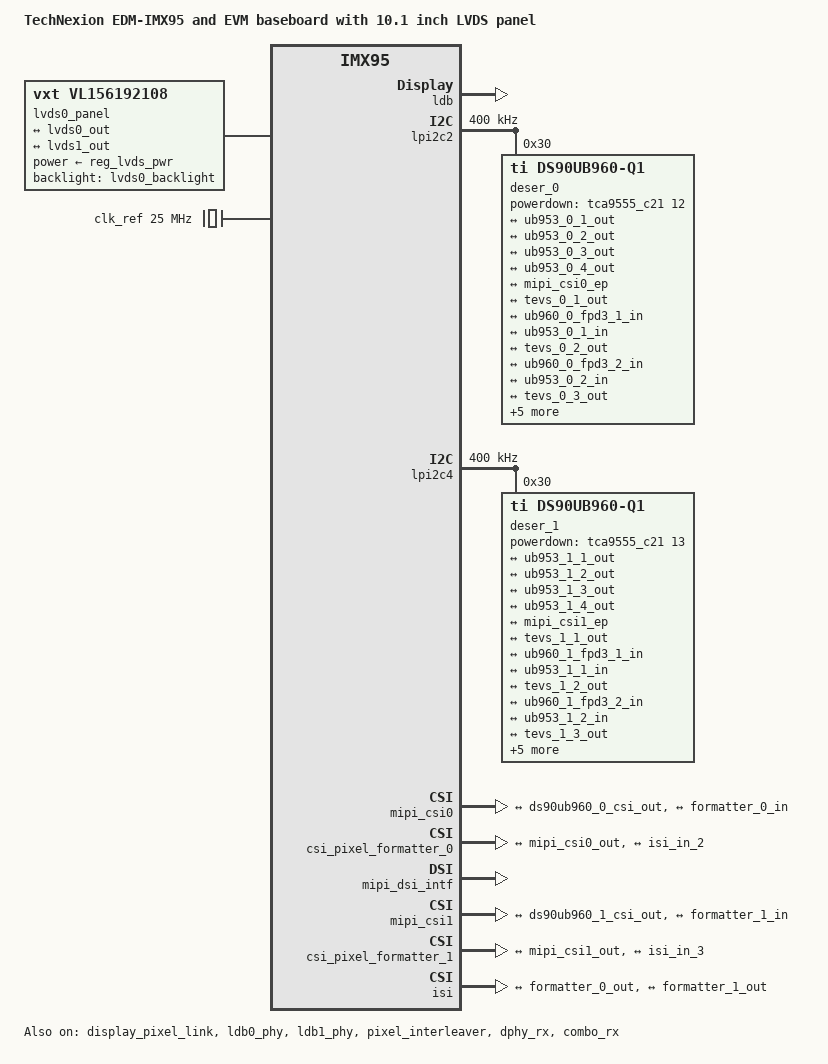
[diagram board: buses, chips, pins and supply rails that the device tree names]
// SPDX-License-Identifier: (GPL-2.0 OR MIT)
/*
 * Copyright 2024 TechNexion Ltd.
 *
 * Author: Dennis Tseng <dennis.tseng@technexion.com>
 */

/dts-v1/;

#include "imx95-edm-evm.dts"

/ {
	model = "TechNexion EDM-IMX95 and EVM baseboard with 10.1 inch LVDS panel";
	compatible = "fsl,imx95-edm", "fsl,imx95";

	reg_lvds_pwr: regulator_lvdspwr {	/* LVDS0_VDDEN */
		status = "okay";
	};

	lvds0_backlight: lvds0_backlight {
		status = "okay";
	};

	lvds0_panel {
		compatible = "vxt,vl156192108", "panel-lvds";
		backlight = <&lvds0_backlight>;
		power-supply = <&reg_lvds_pwr>;
		data-mapping = "vesa-24";
		height-mm = <193>;
		width-mm = <344>;

		panel-timing {
			clock-frequency = <141860000>;
			hactive = <1920>;
			vactive = <1080>;
			vback-porch = <10>;
			vfront-porch = <10>;
			hback-porch = <35>;
			hfront-porch = <34>;
			vsync-len = <10>;
			hsync-len = <35>;
			de-active = <1>;
		};

		ports {
			#address-cells = <1>;
			#size-cells = <0>;

			port@0 {
				reg = <0>;
				dual-lvds-odd-pixels;
				panel_in_odd: endpoint {
					remote-endpoint = <&lvds0_out>;
				};
			};


			port@1 {
				reg = <1>;
				dual-lvds-even-pixels;
				panel_in_even: endpoint {
					remote-endpoint = <&lvds1_out>;
				};
			};
		};
	};

	clk_ref: fixed-clock-25M {
		compatible = "fixed-clock";
		#clock-cells = <0>;
		clock-frequency = <25000000>;
		clock-output-names = "clk_ref";
	};
};

&display_pixel_link {
	status = "okay";
};

&ldb {
	#address-cells = <1>;
	#size-cells = <0>;
	assigned-clocks = <&scmi_clk IMX95_CLK_LDBPLL_VCO>,
			  <&scmi_clk IMX95_CLK_LDBPLL>;
	assigned-clock-rates = <3291120000>, <1097040000>;
	status = "okay";

	channel@0 {
		#address-cells = <1>;
		#size-cells = <0>;
		reg = <0>;
		status = "okay";

		port@1 {
			reg = <1>;

			lvds0_out: endpoint {
				remote-endpoint = <&panel_in_odd>;
			};
		};
	};

	channel@1 {
		#address-cells = <1>;
		#size-cells = <0>;
		reg = <1>;
		status = "okay";

		port@1 {
			reg = <1>;

			lvds1_out: endpoint {
				remote-endpoint = <&panel_in_even>;
			};
		};
	};
};

&ldb0_phy {
	status = "okay";
};

&ldb1_phy {
	status = "okay";
};

&pixel_interleaver {
	#address-cells = <1>;
	#size-cells = <0>;
	status = "okay";

	channel@0 {
		reg = <0>;
		status = "okay";
	};
};

&lpi2c2 {
	#address-cells = <1>;
	#size-cells = <0>;
	clock-frequency = <400000>;

	deser_0@30 {
		compatible = "ti,ds90ub960-q1";
		reg = <0x30>;
		clocks = <&clk_ref>;
		clock-names = "refclk";
		powerdown-gpios  = <&tca9555_c21 12 GPIO_ACTIVE_HIGH>;  /* CSI0_PDB */
		i2c-alias-pool = <0x48 0x49 0x4a 0x4b 0x4c 0x4d 0x4e 0x4f>;

		ds90ub960_0_ports: ports {
			#address-cells = <1>;
			#size-cells = <0>;

			/* FPDLink RX 0 */
			port@0 {
				reg = <0>;

				ub960_0_fpd3_1_in: endpoint {
					remote-endpoint = <&ub953_0_1_out>;
				};
			};

			port@1 {
				reg = <1>;

				ub960_0_fpd3_2_in: endpoint {
					remote-endpoint = <&ub953_0_2_out>;
				};
			};

			port@2 {
				reg = <2>;

				ub960_0_fpd3_3_in: endpoint {
					remote-endpoint = <&ub953_0_3_out>;
				};
			};

			port@3 {
				reg = <3>;

				ub960_0_fpd3_4_in: endpoint {
					remote-endpoint = <&ub953_0_4_out>;
				};
			};

			/* CSI-2 TX */
			port@4 {
				reg = <4>;

				ds90ub960_0_csi_out: endpoint {
					remote-endpoint = <&mipi_csi0_ep>;
					data-lanes = <1 2 3 4>;
					link-frequencies = /bits/ 64 <800000000>;
				};
			};
		};

		ds90ub960_0_links: links {
			#address-cells = <1>;
			#size-cells = <0>;

			/* Link 0 has DS90UB953 serializer and TEVS sensor */

			link@0 {
				reg = <0>;
				i2c-alias = <0x43>;

				ti,rx-mode = <3>;
				ti,bc-gpio = <0>;

				serializer_0_1: serializer {
					compatible = "ti,ds90ub953-q1";

					gpio-controller;
					#gpio-cells = <2>;

					#clock-cells = <0>;

					ports {
						#address-cells = <1>;
						#size-cells = <0>;

						port@0 {
							reg = <0>;

							ub953_0_1_in: endpoint {
								data-lanes = <1 2>;
								remote-endpoint = <&tevs_0_1_out>;
							};
						};

						port@1 {
							reg = <1>;

							ub953_0_1_out: endpoint {
								remote-endpoint = <&ub960_0_fpd3_1_in>;
							};
						};
					};

					i2c {
						#address-cells = <1>;
						#size-cells = <0>;

						vizionlink_pca9554_0_1: vizionlink_pca9554_0@25 {
							compatible = "nxp,pca9554";
							reg = <0x25>;
							gpio-controller;
							#gpio-cells = <2>;
							status = "okay";
						};

						tevs_0_1: tevs@48 {
							compatible = "tn,tevs";
							reg = <0x48>;
							status = "okay";

							reset-gpios = <&vizionlink_pca9554_0_1 4 GPIO_ACTIVE_HIGH>;
							standby-gpios = <&vizionlink_pca9554_0_1 2 GPIO_ACTIVE_HIGH>;

							port {
								tevs_0_1_out: endpoint {
									remote-endpoint = <&ub953_0_1_in>;
									data-lanes = <1 2>;
									clock-lanes = <0>;
									clock-noncontinuous;
									link-frequencies = /bits/ 64 <230000000>;
								};
							};
						};
					};
				};
			};

			/* Link 1 has DS90UB953 serializer and TEVS sensor */

			link@1 {
				reg = <1>;
				i2c-alias = <0x44>;

				ti,rx-mode = <3>;
				ti,bc-gpio = <0>;

				serializer_0_2: serializer {
					compatible = "ti,ds90ub953-q1";

					gpio-controller;
					#gpio-cells = <2>;

					#clock-cells = <0>;

					ports {
						#address-cells = <1>;
						#size-cells = <0>;

						port@0 {
							reg = <0>;

							ub953_0_2_in: endpoint {
								data-lanes = <1 2>;
								remote-endpoint = <&tevs_0_2_out>;
							};
						};

						port@1 {
							reg = <1>;

							ub953_0_2_out: endpoint {
								remote-endpoint = <&ub960_0_fpd3_2_in>;
							};
						};
					};

					i2c {
						#address-cells = <1>;
						#size-cells = <0>;

						vizionlink_pca9554_0_2: vizionlink_pca9554_0@25 {
							compatible = "nxp,pca9554";
							reg = <0x25>;
							gpio-controller;
							#gpio-cells = <2>;
							status = "okay";
						};

						tevs_0_2: tevs@48 {
							compatible = "tn,tevs";
							reg = <0x48>;
							status = "okay";

							reset-gpios = <&vizionlink_pca9554_0_2 4 GPIO_ACTIVE_HIGH>;
							standby-gpios = <&vizionlink_pca9554_0_2 2 GPIO_ACTIVE_HIGH>;

							port {
								tevs_0_2_out: endpoint {
									remote-endpoint = <&ub953_0_2_in>;
									data-lanes = <1 2>;
									clock-lanes = <0>;
									clock-noncontinuous;
									link-frequencies = /bits/ 64 <230000000>;
								};
							};
						};
					};
				};
			};

			/* Link 2 has DS90UB953 serializer and TEVS sensor */

			link@2 {
				reg = <2>;
				i2c-alias = <0x45>;

				ti,rx-mode = <3>;
				ti,bc-gpio = <0>;

				serializer_0_3: serializer {
					compatible = "ti,ds90ub953-q1";

					gpio-controller;
					#gpio-cells = <2>;

					#clock-cells = <0>;

					ports {
						#address-cells = <1>;
						#size-cells = <0>;

						port@0 {
							reg = <0>;

							ub953_0_3_in: endpoint {
								data-lanes = <1 2>;
								remote-endpoint = <&tevs_0_3_out>;
							};
						};

						port@1 {
							reg = <1>;

							ub953_0_3_out: endpoint {
								remote-endpoint = <&ub960_0_fpd3_3_in>;
							};
						};
					};

					i2c {
						#address-cells = <1>;
						#size-cells = <0>;

						vizionlink_pca9554_0_3: vizionlink_pca9554_0@25 {
							compatible = "nxp,pca9554";
							reg = <0x25>;
							gpio-controller;
							#gpio-cells = <2>;
							status = "okay";
						};

						tevs_0_3: tevs@48 {
							compatible = "tn,tevs";
							reg = <0x48>;
							status = "okay";

							reset-gpios = <&vizionlink_pca9554_0_3 4 GPIO_ACTIVE_HIGH>;
							standby-gpios = <&vizionlink_pca9554_0_3 2 GPIO_ACTIVE_HIGH>;

							port {
								tevs_0_3_out: endpoint {
									remote-endpoint = <&ub953_0_3_in>;
									data-lanes = <1 2>;
									clock-lanes = <0>;
									clock-noncontinuous;
									link-frequencies = /bits/ 64 <230000000>;
								};
							};
						};
					};
				};
			};

			/* Link 3 has DS90UB953 serializer and TEVS sensor */

			link@3 {
				reg = <3>;
				i2c-alias = <0x46>;

				ti,rx-mode = <3>;
				ti,bc-gpio = <0>;

				serializer_0_4: serializer {
					compatible = "ti,ds90ub953-q1";

					gpio-controller;
					#gpio-cells = <2>;

					#clock-cells = <0>;

					ports {
						#address-cells = <1>;
						#size-cells = <0>;

						port@0 {
							reg = <0>;

							ub953_0_4_in: endpoint {
								data-lanes = <1 2>;
								remote-endpoint = <&tevs_0_4_out>;
							};
						};

						port@1 {
							reg = <1>;

							ub953_0_4_out: endpoint {
								remote-endpoint = <&ub960_0_fpd3_4_in>;
							};
						};
					};

					i2c {
						#address-cells = <1>;
						#size-cells = <0>;

						vizionlink_pca9554_0_4: vizionlink_pca9554_0@25 {
							compatible = "nxp,pca9554";
							reg = <0x25>;
							gpio-controller;
							#gpio-cells = <2>;
							status = "okay";
						};

						tevs_0_4: tevs@48 {
							compatible = "tn,tevs";
							reg = <0x48>;
							status = "okay";

							reset-gpios = <&vizionlink_pca9554_0_4 4 GPIO_ACTIVE_HIGH>;
							standby-gpios = <&vizionlink_pca9554_0_4 2 GPIO_ACTIVE_HIGH>;

							port {
								tevs_0_4_out: endpoint {
									remote-endpoint = <&ub953_0_4_in>;
									data-lanes = <1 2>;
									clock-lanes = <0>;
									clock-noncontinuous;
									link-frequencies = /bits/ 64 <230000000>;
								};
							};
						};
					};
				};
			};
		};
	};
};

&lpi2c4 {
	#address-cells = <1>;
	#size-cells = <0>;
	clock-frequency = <400000>;

	deser_1@30 {
		compatible = "ti,ds90ub960-q1";
		reg = <0x30>;
		clocks = <&clk_ref>;
		clock-names = "refclk";
		powerdown-gpios  = <&tca9555_c21 13 GPIO_ACTIVE_HIGH>;  /* CSI1_PDB */
		i2c-alias-pool = <0x48 0x49 0x4a 0x4b 0x4c 0x4d 0x4e 0x4f>;

		ds90ub960_1_ports: ports {
			#address-cells = <1>;
			#size-cells = <0>;

			/* FPDLink RX 0 */
			port@0 {
				reg = <0>;

				ub960_1_fpd3_1_in: endpoint {
					remote-endpoint = <&ub953_1_1_out>;
				};
			};

			port@1 {
				reg = <1>;

				ub960_1_fpd3_2_in: endpoint {
					remote-endpoint = <&ub953_1_2_out>;
				};
			};

			port@2 {
				reg = <2>;

				ub960_1_fpd3_3_in: endpoint {
					remote-endpoint = <&ub953_1_3_out>;
				};
			};

			port@3 {
				reg = <3>;

				ub960_1_fpd3_4_in: endpoint {
					remote-endpoint = <&ub953_1_4_out>;
				};
			};

			/* CSI-2 TX */
			port@4 {
				reg = <4>;

				ds90ub960_1_csi_out: endpoint {
					remote-endpoint = <&mipi_csi1_ep>;
					data-lanes = <1 2 3 4>;
					link-frequencies = /bits/ 64 <800000000>;
				};
			};
		};

		ds90ub960_1_links: links {
			#address-cells = <1>;
			#size-cells = <0>;

			/* Link 0 has DS90UB953 serializer and TEVS sensor */

			link@0 {
				reg = <0>;
				i2c-alias = <0x43>;

				ti,rx-mode = <3>;
				ti,bc-gpio = <0>;

				serializer_1_1: serializer {
					compatible = "ti,ds90ub953-q1";

					gpio-controller;
					#gpio-cells = <2>;

					#clock-cells = <0>;

					ports {
						#address-cells = <1>;
						#size-cells = <0>;

						port@0 {
							reg = <0>;

							ub953_1_1_in: endpoint {
								data-lanes = <1 2>;
								remote-endpoint = <&tevs_1_1_out>;
							};
						};

						port@1 {
							reg = <1>;

							ub953_1_1_out: endpoint {
								remote-endpoint = <&ub960_1_fpd3_1_in>;
							};
						};
					};

					i2c {
						#address-cells = <1>;
						#size-cells = <0>;

						vizionlink_pca9554_1_1: vizionlink_pca9554_1@25 {
							compatible = "nxp,pca9554";
							reg = <0x25>;
							gpio-controller;
							#gpio-cells = <2>;
							status = "okay";
						};

						tevs_1_1: tevs@48 {
							compatible = "tn,tevs";
							reg = <0x48>;
							status = "okay";

							reset-gpios = <&vizionlink_pca9554_1_1 4 GPIO_ACTIVE_HIGH>;
							standby-gpios = <&vizionlink_pca9554_1_1 2 GPIO_ACTIVE_HIGH>;

							port {
								tevs_1_1_out: endpoint {
									remote-endpoint = <&ub953_1_1_in>;
									data-lanes = <1 2>;
									clock-lanes = <0>;
									clock-noncontinuous;
									link-frequencies = /bits/ 64 <230000000>;
								};
							};
						};
					};
				};
			};

			/* Link 1 has DS90UB953 serializer and TEVS sensor */

			link@1 {
				reg = <1>;
				i2c-alias = <0x44>;

				ti,rx-mode = <3>;
				ti,bc-gpio = <0>;

				serializer_1_2: serializer {
					compatible = "ti,ds90ub953-q1";

					gpio-controller;
					#gpio-cells = <2>;

					#clock-cells = <0>;

					ports {
						#address-cells = <1>;
						#size-cells = <0>;

						port@0 {
							reg = <0>;

							ub953_1_2_in: endpoint {
								data-lanes = <1 2>;
								remote-endpoint = <&tevs_1_2_out>;
							};
						};

						port@1 {
							reg = <1>;

							ub953_1_2_out: endpoint {
								remote-endpoint = <&ub960_1_fpd3_2_in>;
							};
						};
					};

					i2c {
						#address-cells = <1>;
						#size-cells = <0>;

						vizionlink_pca9554_1_2: vizionlink_pca9554_1@25 {
							compatible = "nxp,pca9554";
							reg = <0x25>;
							gpio-controller;
							#gpio-cells = <2>;
							status = "okay";
						};

						tevs_1_2: tevs@48 {
							compatible = "tn,tevs";
							reg = <0x48>;
							status = "okay";

							reset-gpios = <&vizionlink_pca9554_1_2 4 GPIO_ACTIVE_HIGH>;
							standby-gpios = <&vizionlink_pca9554_1_2 2 GPIO_ACTIVE_HIGH>;

							port {
								tevs_1_2_out: endpoint {
									remote-endpoint = <&ub953_1_2_in>;
									data-lanes = <1 2>;
									clock-lanes = <0>;
									clock-noncontinuous;
									link-frequencies = /bits/ 64 <230000000>;
								};
							};
						};
					};
				};
			};

			/* Link 2 has DS90UB953 serializer and TEVS sensor */

			link@2 {
				reg = <2>;
				i2c-alias = <0x45>;

				ti,rx-mode = <3>;
				ti,bc-gpio = <0>;

				serializer_1_3: serializer {
					compatible = "ti,ds90ub953-q1";

					gpio-controller;
					#gpio-cells = <2>;

					#clock-cells = <0>;

					ports {
						#address-cells = <1>;
						#size-cells = <0>;

						port@0 {
							reg = <0>;

							ub953_1_3_in: endpoint {
								data-lanes = <1 2>;
								remote-endpoint = <&tevs_1_3_out>;
							};
						};

						port@1 {
							reg = <1>;

							ub953_1_3_out: endpoint {
								remote-endpoint = <&ub960_1_fpd3_3_in>;
							};
						};
					};

					i2c {
						#address-cells = <1>;
						#size-cells = <0>;

						vizionlink_pca9554_1_3: vizionlink_pca9554_1@25 {
							compatible = "nxp,pca9554";
							reg = <0x25>;
							gpio-controller;
							#gpio-cells = <2>;
							status = "okay";
						};

						tevs_1_3: tevs@48 {
							compatible = "tn,tevs";
							reg = <0x48>;
							status = "okay";

							reset-gpios = <&vizionlink_pca9554_1_3 4 GPIO_ACTIVE_HIGH>;
							standby-gpios = <&vizionlink_pca9554_1_3 2 GPIO_ACTIVE_HIGH>;

							port {
								tevs_1_3_out: endpoint {
									remote-endpoint = <&ub953_1_3_in>;
									data-lanes = <1 2>;
									clock-lanes = <0>;
									clock-noncontinuous;
									link-frequencies = /bits/ 64 <230000000>;
								};
							};
						};
					};
				};
			};

			/* Link 3 has DS90UB953 serializer and TEVS sensor */

			link@3 {
				reg = <3>;
				i2c-alias = <0x46>;

				ti,rx-mode = <3>;
				ti,bc-gpio = <0>;

				serializer_1_4: serializer {
					compatible = "ti,ds90ub953-q1";

					gpio-controller;
					#gpio-cells = <2>;

					#clock-cells = <0>;

					ports {
						#address-cells = <1>;
						#size-cells = <0>;

						port@0 {
							reg = <0>;

							ub953_1_4_in: endpoint {
								data-lanes = <1 2>;
								remote-endpoint = <&tevs_1_4_out>;
							};
						};

						port@1 {
							reg = <1>;

							ub953_1_4_out: endpoint {
								remote-endpoint = <&ub960_1_fpd3_4_in>;
							};
						};
					};

					i2c {
						#address-cells = <1>;
						#size-cells = <0>;

						vizionlink_pca9554_1_4: vizionlink_pca9554_1@25 {
							compatible = "nxp,pca9554";
							reg = <0x25>;
							gpio-controller;
							#gpio-cells = <2>;
							status = "okay";
						};

						tevs_1_4: tevs@48 {
							compatible = "tn,tevs";
							reg = <0x48>;
							status = "okay";

							reset-gpios = <&vizionlink_pca9554_1_4 4 GPIO_ACTIVE_HIGH>;
							standby-gpios = <&vizionlink_pca9554_1_4 2 GPIO_ACTIVE_HIGH>;

							port {
								tevs_1_4_out: endpoint {
									remote-endpoint = <&ub953_1_4_in>;
									data-lanes = <1 2>;
									clock-lanes = <0>;
									clock-noncontinuous;
									link-frequencies = /bits/ 64 <230000000>;
								};
							};
						};
					};
				};
			};
		};
	};
};

//**CSI-0 Part**//

&dphy_rx {
	status = "okay";
};

&mipi_csi0 {
	status = "okay";

	ports {
		#address-cells = <1>;
		#size-cells = <0>;

		port@0 {
			reg = <0>;
			mipi_csi0_ep: endpoint {
				remote-endpoint = <&ds90ub960_0_csi_out>;
				data-lanes = <1 2 3 4>;
				clock-lanes = <0>;
			};
		};

		port@1 {
			reg = <1>;
				mipi_csi0_out: endpoint {
				remote-endpoint = <&formatter_0_in>;
			};
		};
	};
};

&csi_pixel_formatter_0 {
	status = "okay";

	ports {
		#address-cells = <1>;
		#size-cells = <0>;

		port@0 {
			reg = <0>;

			formatter_0_in: endpoint {
				remote-endpoint = <&mipi_csi0_out>;
			};
		};

		port@1 {
			reg = <1>;

			formatter_0_out: endpoint {
				remote-endpoint = <&isi_in_2>;
			};
		};
	};
};

//**CSI-1 Part**//

&display_stream_csr {
	status = "disabled";
};

&display_master_csr {
	status = "disabled";
};

&mipi_tx_phy_csr {
	status = "disabled";
};

&mipi_dsi_intf {
	status = "okay";
};

&combo_rx {
	status = "okay";
};

&mipi_csi1 {
	status = "okay";

	ports {
		#address-cells = <1>;
		#size-cells = <0>;

		port@0 {
			reg = <0>;
			mipi_csi1_ep: endpoint {
				remote-endpoint = <&ds90ub960_1_csi_out>;
				data-lanes = <1 2 3 4>;
				clock-lanes = <0>;
			};
		};

		port@1 {
			reg = <1>;
				mipi_csi1_out: endpoint {
				remote-endpoint = <&formatter_1_in>;
			};
		};
	};
};

&csi_pixel_formatter_1 {
	status = "okay";

	ports {
		#address-cells = <1>;
		#size-cells = <0>;

		port@0 {
			reg = <0>;

			formatter_1_in: endpoint {
				remote-endpoint = <&mipi_csi1_out>;
			};
		};

		port@1 {
			reg = <1>;

			formatter_1_out: endpoint {
				remote-endpoint = <&isi_in_3>;
			};
		};
	};
};


&isi {
	status = "okay";

	ports {
		#address-cells = <1>;
		#size-cells = <0>;

		port@2 {
			reg = <2>;

			isi_in_2: endpoint {
				remote-endpoint = <&formatter_0_out>;
			};
		};

		port@3 {
			reg = <3>;

			isi_in_3: endpoint {
				remote-endpoint = <&formatter_1_out>;
			};
		};
	};
};
